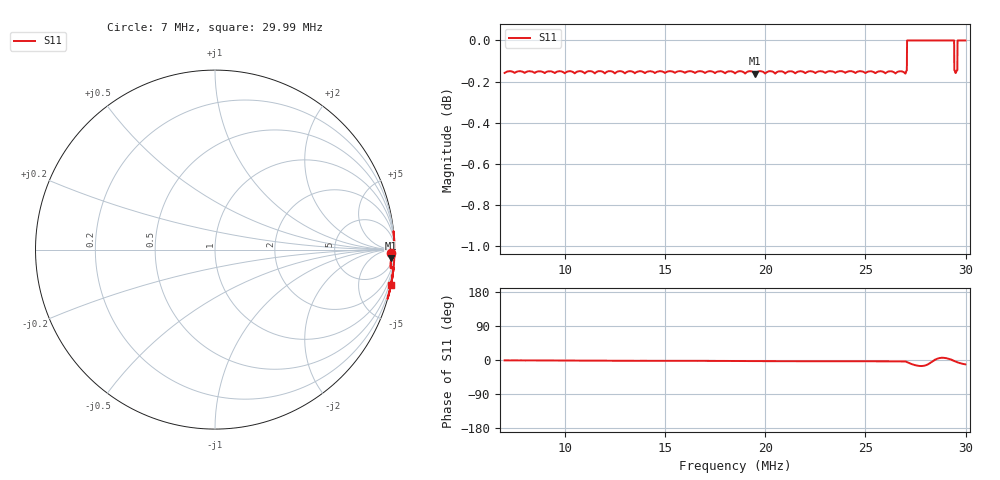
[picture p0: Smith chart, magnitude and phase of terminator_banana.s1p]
! Touchstone file generated by AntScope2
# MHz Z RI R 50
! Format: Frequency Z-real Z-imaginary (normalized to 50 Ohm)
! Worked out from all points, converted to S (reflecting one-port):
!   2000 points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, 7 MHz to 29.99 MHz, reference 50 ohm
!   lowest |S11| = -0.2 dB at 19.5 MHz (marker M1), VSWR 107.82, Z = 657 - j1.76e+03 ohm
!   phase of S11 starts at -1 deg and turns -10 deg over the sweep
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7  55.8 -54.98
9.875  44.33 -55.75
12.75  22.11 -45.67
15.625  19.35 -43.02
18.5  14.82 -37.22
19.5005  13.14 -35.26
21.375  10.41 -32.92
24.25  9.374 -31.65
26.8835  7.961 -29.03
26.9985  7.669 -27.71
27.125  0 -16.65
27.3435  0 -9.994
27.539  0 -7.904
27.7115  0 -7.195
27.8725  0 -7.284
27.999  0 -8.071
28.114  0 -9.855
28.4475  0 -200
28.574  0 36.74
28.712  0 21.47
28.8615  0 19.32
28.988  0 21.96
29.126  0 32.54
29.31  0 200
29.5515  3.823 -20.84
29.678  0 -15.02
29.8505  0 -11.34
29.9885  0 -10.03
